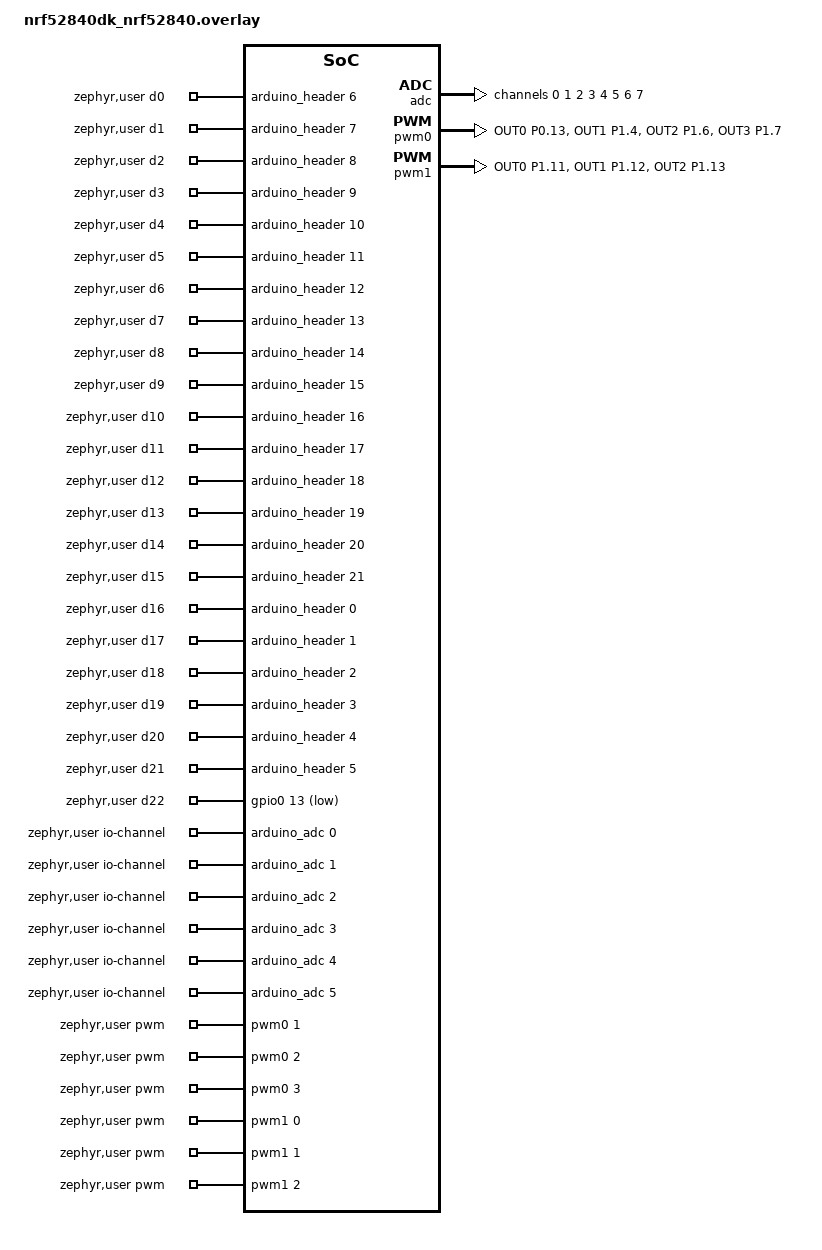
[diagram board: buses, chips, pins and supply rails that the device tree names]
/ {
	zephyr,user {
		d0_gpios = <&arduino_header 6 0>;	/* Digital */
		d1_gpios = <&arduino_header 7 0>;
		d2_gpios = <&arduino_header 8 0>;
		d3_gpios = <&arduino_header 9 0>;
		d4_gpios = <&arduino_header 10 0>;
		d5_gpios = <&arduino_header 11 0>;
		d6_gpios = <&arduino_header 12 0>;
		d7_gpios = <&arduino_header 13 0>;
		d8_gpios = <&arduino_header 14 0>;
		d9_gpios = <&arduino_header 15 0>;
		d10_gpios = <&arduino_header 16 0>;
		d11_gpios = <&arduino_header 17 0>;
		d12_gpios = <&arduino_header 18 0>;
		d13_gpios = <&arduino_header 19 0>;
		d14_gpios = <&arduino_header 20 0>;
		d15_gpios = <&arduino_header 21 0>;
		d16_gpios = <&arduino_header 0 0>;	/* Analog */
		d17_gpios = <&arduino_header 1 0>;
		d18_gpios = <&arduino_header 2 0>;
		d19_gpios = <&arduino_header 3 0>;
		d20_gpios = <&arduino_header 4 0>;
		d21_gpios = <&arduino_header 5 0>;
		d22_gpios = <&gpio0 13 GPIO_ACTIVE_LOW>;

		pwms =	<&pwm0 1 255 PWM_POLARITY_NORMAL>,
			<&pwm0 2 255 PWM_POLARITY_NORMAL>,
			<&pwm0 3 255 PWM_POLARITY_NORMAL>,
			<&pwm1 0 255 PWM_POLARITY_NORMAL>,
			<&pwm1 1 255 PWM_POLARITY_NORMAL>,
			<&pwm1 2 255 PWM_POLARITY_NORMAL>;
		pwm-pins = <22 3 5 6 9 10 11>;

		io-channels =	<&arduino_adc 0>,
				<&arduino_adc 1>,
				<&arduino_adc 2>,
				<&arduino_adc 3>,
				<&arduino_adc 4>,
				<&arduino_adc 5>;
		io-channel-pins = <16 17 18 19 20 21>;
	};
};

&adc {
	#address-cells = <1>;
	#size-cells = <0>;

	channel@0 {
		reg = <0>;
		zephyr,gain = "ADC_GAIN_1_6";
		zephyr,reference = "ADC_REF_INTERNAL";
		zephyr,acquisition-time = <ADC_ACQ_TIME_DEFAULT>;
		zephyr,input-positive = <NRF_SAADC_AIN0>; /* P0.02 */
		zephyr,resolution = <10>;
	};

	channel@1 {
		reg = <1>;
		zephyr,gain = "ADC_GAIN_1_6";
		zephyr,reference = "ADC_REF_INTERNAL";
		zephyr,acquisition-time = <ADC_ACQ_TIME_DEFAULT>;
		zephyr,input-positive = <NRF_SAADC_AIN1>; /* P0.03 */
		zephyr,resolution = <10>;
	};

	channel@2 {
		reg = <2>;
		zephyr,gain = "ADC_GAIN_1_6";
		zephyr,reference = "ADC_REF_INTERNAL";
		zephyr,acquisition-time = <ADC_ACQ_TIME_DEFAULT>;
		zephyr,input-positive = <NRF_SAADC_AIN2>; /* P0.04 */
		zephyr,resolution = <10>;
	};

	channel@3 {
		reg = <3>;
		zephyr,gain = "ADC_GAIN_1_6";
		zephyr,reference = "ADC_REF_INTERNAL";
		zephyr,acquisition-time = <ADC_ACQ_TIME_DEFAULT>;
		zephyr,input-positive = <NRF_SAADC_AIN3>; /* P0.05 */
		zephyr,resolution = <10>;
	};

	channel@4 {
		reg = <4>;
		zephyr,gain = "ADC_GAIN_1_6";
		zephyr,reference = "ADC_REF_INTERNAL";
		zephyr,acquisition-time = <ADC_ACQ_TIME_DEFAULT>;
		zephyr,input-positive = <NRF_SAADC_AIN4>; /* P0.28 */
		zephyr,resolution = <10>;
	};

	channel@5 {
		reg = <5>;
		zephyr,gain = "ADC_GAIN_1_6";
		zephyr,reference = "ADC_REF_INTERNAL";
		zephyr,acquisition-time = <ADC_ACQ_TIME_DEFAULT>;
		zephyr,input-positive = <NRF_SAADC_AIN5>; /* P0.29 */
		zephyr,resolution = <10>;
	};

	channel@6 {
		reg = <6>;
		zephyr,gain = "ADC_GAIN_1_6";
		zephyr,reference = "ADC_REF_INTERNAL";
		zephyr,acquisition-time = <ADC_ACQ_TIME_DEFAULT>;
		zephyr,input-positive = <NRF_SAADC_AIN6>; /* P0.30 */
		zephyr,resolution = <10>;
	};

	channel@7 {
		reg = <7>;
		zephyr,gain = "ADC_GAIN_1_6";
		zephyr,reference = "ADC_REF_INTERNAL";
		zephyr,acquisition-time = <ADC_ACQ_TIME_DEFAULT>;
		zephyr,input-positive = <NRF_SAADC_AIN7>; /* P0.31 */
		zephyr,resolution = <10>;
	};
};

&pinctrl {
	pwm0_default: pwm0_default {
		group1 {
			psels = <NRF_PSEL(PWM_OUT0, 0, 13)>, /* keep original config */
				<NRF_PSEL(PWM_OUT1, 1, 4)>,
				<NRF_PSEL(PWM_OUT2, 1, 6)>,
				<NRF_PSEL(PWM_OUT3, 1, 7)>;
				nordic,invert;
		};
	};

	pwm0_sleep: pwm0_sleep {
		group1 {
			psels = <NRF_PSEL(PWM_OUT0, 0, 13)>, /* keep original config */
				<NRF_PSEL(PWM_OUT1, 1, 4)>,
				<NRF_PSEL(PWM_OUT2, 1, 6)>,
				<NRF_PSEL(PWM_OUT3, 1, 7)>;
				low-power-enable;
		};
	};

	pwm1_default: pwm1_default {
		group1 {
			psels = <NRF_PSEL(PWM_OUT0, 1, 11)>,
				<NRF_PSEL(PWM_OUT1, 1, 12)>,
				<NRF_PSEL(PWM_OUT2, 1, 13)>;
				nordic,invert;
		};
	};

	pwm1_sleep: pwm1_sleep {
		group1 {
			psels = <NRF_PSEL(PWM_OUT0, 1, 11)>,
				<NRF_PSEL(PWM_OUT1, 1, 12)>,
				<NRF_PSEL(PWM_OUT2, 1, 13)>;
				low-power-enable;
		};
	};
};

&pwm0 {
	status = "okay";
	pinctrl-0 = <&pwm0_default>;
	pinctrl-1 = <&pwm0_sleep>;
	pinctrl-names = "default", "sleep";
};

&pwm1 {
	status = "okay";
	pinctrl-0 = <&pwm1_default>;
	pinctrl-1 = <&pwm1_sleep>;
	pinctrl-names = "default", "sleep";
};
